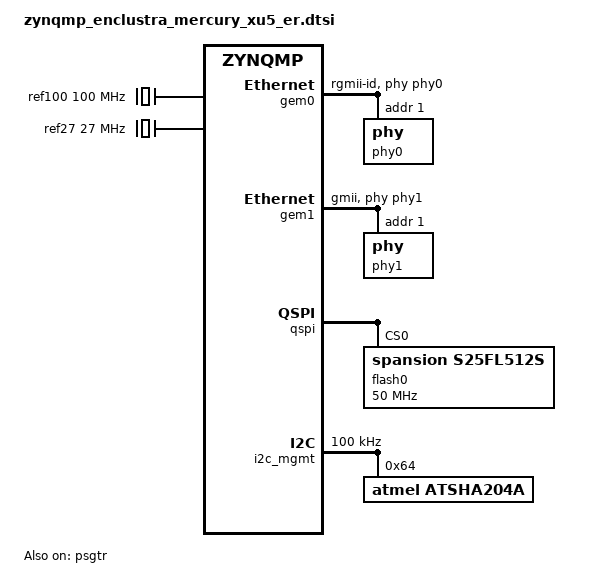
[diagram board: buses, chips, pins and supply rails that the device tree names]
/ {
	aliases {
		ethernet0 = &gem0;
		ethernet1 = &gem1;
		i2c0 = &i2c_mgmt;
		i2c1 = &i2c_user;
		serial0 = &uart0;
		spi0 = &qspi;
	};
};

&gem0 {
	status = "okay";
	/delete-property/ local-mac-address;
	phy-mode = "rgmii-id";
	phy-handle = <&phy0>;
	phy0: phy@1 {
		reg = <1>;

	    	realtek,center-tap-not-short;		
	};
};

&gem1 {
	status = "okay";
	/delete-property/ local-mac-address;
	phy-mode = "gmii";
	phy-handle = <&phy1>;
    	phy1: phy@1 {
		reg = <1>;

	    	realtek,center-tap-not-short;		
	};
};

&qspi {
	status = "okay";
	#address-cells = <1>;
	#size-cells = <0>;
	is-dual = <0>;
	num-cs = <1>;
	flash0: flash@0 {
		reg = <0x0>;
		compatible = "spansion,s25fl512s", "jedec,spi-nor";
		spi-rx-bus-width = <0x4>;
		spi-tx-bus-width = <0x4>;
		spi-max-frequency = <50000000>;
		#address-cells = <1>;
		#size-cells = <1>;
	};
};

&psgtr {
	status = "okay";
	clocks = <&ref100>, <&ref27>;
	clock-names = "ref2", "ref3";
};

&amba {
	ref100: ref100M {
		compatible = "fixed-clock";
		#clock-cells = <0>;
		clock-frequency = <100000000>;
	};
	ref27: ref27M {
		compatible = "fixed-clock";
		#clock-cells = <0>;
		clock-frequency = <27000000>;
	};
	i2c_mgmt: i2c@ff020000 {
		status = "okay";
		clock-frequency = <100000>;
		atsha204a@64 {
			status = "okay";
			compatible = "atmel,atsha204a", "atmel,atsha204-i2c";
			reg = <0x64>;
		};
	};
	i2c_user: i2c@ff030000 {};
};

